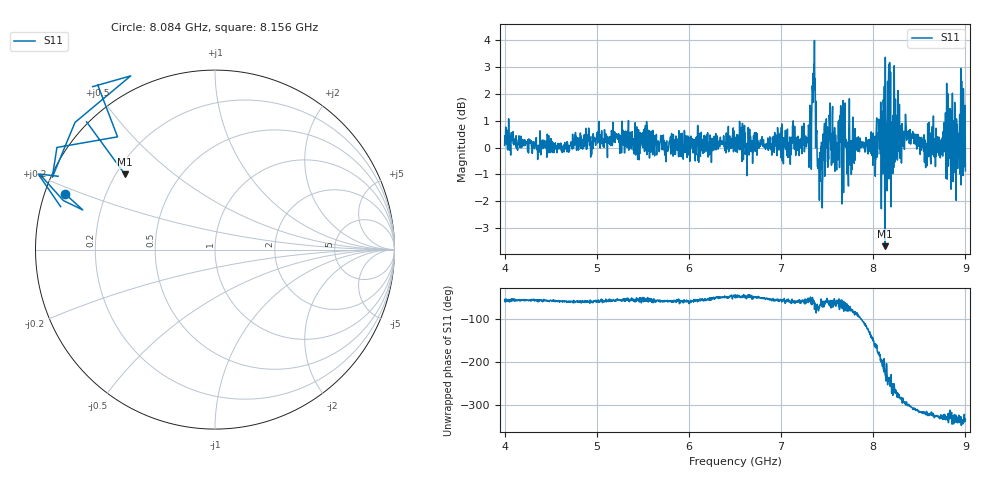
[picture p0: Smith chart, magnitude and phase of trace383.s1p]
! Created with skrf 1.8.0 (http://scikit-rf.org).
# Hz S RI R 50.0
!freq ReS11 ImS11
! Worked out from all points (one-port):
!   1601 points, 4 GHz to 9 GHz, reference 50 ohm
!   lowest |S11| = -3.7 dB at 8.125 GHz (marker M1), VSWR 4.79, Z = 11.7 + j17.3 ohm
!   |S11| at or under -10 dB: nowhere
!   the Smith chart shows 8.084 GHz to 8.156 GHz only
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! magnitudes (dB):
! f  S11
! 4 GHz  0.1
! 4.625 GHz  -0.2
! 5.25 GHz  -0.2
! 5.875 GHz  0.1
! 6.5 GHz  0.3
! 7.125 GHz  0.8
! 7.303 GHz  -0.7
! 7.356 GHz  3.1
! 7.4 GHz  -0.8
! 7.428 GHz  -0.8
! 7.509 GHz  0.2
! 7.588 GHz  -0.4
! 7.669 GHz  0.3
! 7.75 GHz  -0.3
! 8.006 GHz  -0.4
! 8.125 GHz  -3.7
! 8.15 GHz  -1.6
! 8.153 GHz  1.0
! 8.197 GHz  0.3
! 8.25 GHz  -0.2
! 8.316 GHz  0.3
! 8.375 GHz  0.5
! 8.562 GHz  -0.6
! 8.731 GHz  0.3
! 8.816 GHz  -0.7
! 8.875 GHz  0.3
! 8.972 GHz  1.0
! 9 GHz  -0.9
